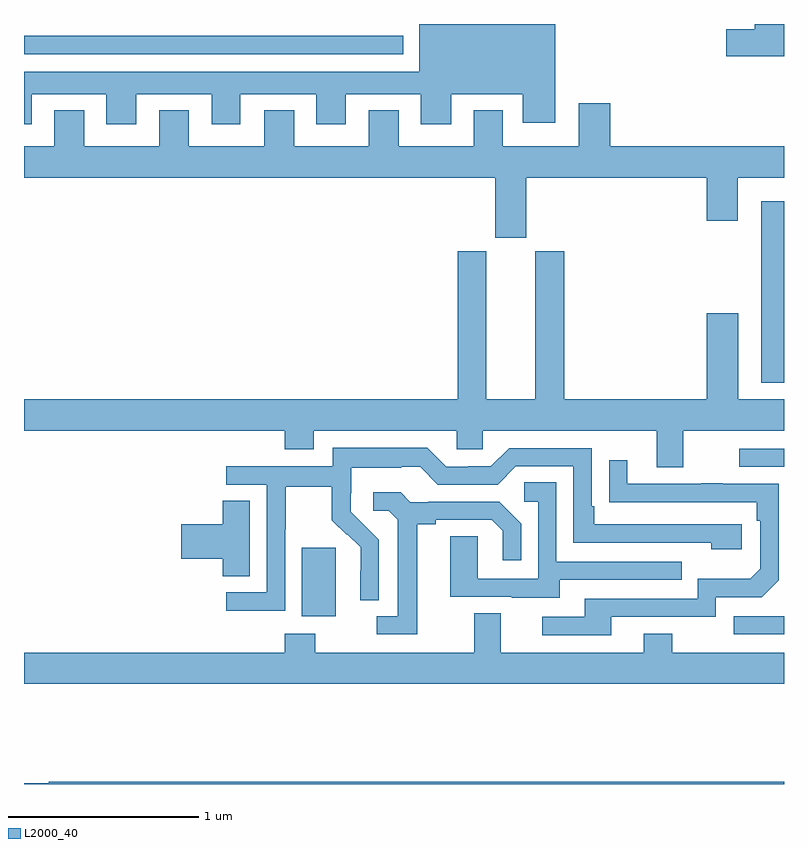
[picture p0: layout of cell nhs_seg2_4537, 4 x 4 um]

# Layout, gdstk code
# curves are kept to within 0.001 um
import gdstk
lib = gdstk.Library(unit=1e-6, precision=1e-09)
def R(c, l, rs):  # rectangles x0, y0, x1, y1
    for r in rs: c.add(gdstk.rectangle(r[:2], r[2:], *l))
def P(c, l, *ps):  # polygons
    for p in ps: c.add(gdstk.Polygon(p, *l))
L2000_40 = (2000, 40)

nhs_seg2_4537 = lib.new_cell('nhs_seg2_4537')
R(nhs_seg2_4537, L2000_40, [(360.735,622.587,361,622.683), (358.463,622.682,358.642,623.043), (360.765,623.469,361,623.565), (360.881,623.913,361,624.868), (357,625.641,358.996,625.738)])
P(nhs_seg2_4537, L2000_40, [(361,625.8),(360.845,625.8),(360.845,625.772),(360.696,625.772),(360.696,625.63),(361,625.63)],
  [(357.04,625.43),(357.434,625.43),(357.434,625.272),(357.592,625.272),(357.592,625.43),(357.989,625.43),(357.989,625.272),(358.138,625.272),(358.138,625.43),(358.538,625.43),(358.538,625.272),(358.693,625.272),(358.693,625.43),(359.087,625.43),(359.087,625.272),(359.248,625.272),(359.248,625.43),(359.624,625.43),(359.624,625.28),(359.797,625.28),(359.797,625.8),(359.081,625.8),(359.081,625.549),(357,625.549),(357,625.272),(357.04,625.272)],
  [(359.644,624.992),(360.593,624.992),(360.593,624.765),(360.757,624.765),(360.757,624.992),(361,624.992),(361,625.156),(360.086,625.156),(360.086,625.384),(359.921,625.384),(359.921,625.156),(359.521,625.156),(359.521,625.345),(359.366,625.345),(359.366,625.156),(358.972,625.156),(358.972,625.345),(358.814,625.345),(358.814,625.156),(358.423,625.156),(358.423,625.345),(358.265,625.345),(358.265,625.156),(357.868,625.156),(357.868,625.345),(357.713,625.345),(357.713,625.156),(357.316,625.156),(357.316,625.345),(357.158,625.345),(357.158,625.156),(357,625.156),(357,624.992),(359.48,624.992),(359.48,624.675),(359.644,624.675)],
  [(360.469,623.66),(361,623.66),(361,623.824),(360.76,623.824),(360.76,624.277),(360.593,624.277),(360.593,623.824),(359.843,623.824),(359.843,624.603),(359.69,624.603),(359.69,623.824),(359.434,623.824),(359.434,624.603),(359.282,624.603),(359.282,623.824),(357,623.824),(357,623.66),(358.373,623.66),(358.373,623.561),(358.525,623.561),(358.525,623.66),(359.277,623.66),(359.277,623.562),(359.415,623.562),(359.415,623.66),(360.329,623.66),(360.329,623.466),(360.469,623.466)],
  [(358.374,623.14),(358.377,623.14),(358.377,623.364),(358.621,623.364),(358.621,623.189),(358.698,623.112),(358.701,623.115),(358.772,623.045),(358.772,622.922),(358.77,622.922),(358.77,622.768),(358.866,622.768),(358.866,623.086),(358.72,623.234),(358.72,623.331),(358.722,623.331),(358.722,623.465),(358.985,623.465),(358.985,623.469),(359.085,623.469),(359.178,623.376),(359.493,623.376),(359.589,623.472),(359.892,623.472),(359.892,623.07),(360.617,623.07),(360.617,623.036),(360.778,623.036),(360.778,623.166),(360.001,623.166),(360.001,623.263),(359.988,623.263),(359.988,623.568),(359.553,623.568),(359.457,623.472),(359.339,623.472),(359.339,623.469),(359.223,623.469),(359.123,623.569),(358.626,623.569),(358.626,623.472),(358.065,623.472),(358.065,623.376),(358.278,623.376),(358.278,622.809),(358.065,622.809),(358.065,622.711),(358.374,622.711)],
  [(360.091,622.68),(360.642,622.68),(360.642,622.782),(360.882,622.782),(360.972,622.872),(360.972,623.379),(360.677,623.379),(360.677,623.384),(360.565,623.384),(360.565,623.379),(360.175,623.379),(360.175,623.503),(360.079,623.503),(360.079,623.284),(360.856,623.283),(360.856,623.186),(360.876,623.186),(360.876,622.932),(360.823,622.879),(360.546,622.879),(360.546,622.776),(359.951,622.776),(359.951,622.68),(359.727,622.68),(359.727,622.584),(360.091,622.584)],
  [(359.821,622.875),(360.461,622.875),(360.461,622.971),(359.802,622.971),(359.802,623.387),(359.634,623.387),(359.634,623.286),(359.706,623.286),(359.706,622.881),(359.388,622.881),(359.388,623.105),(359.243,623.105),(359.243,622.785),(359.567,622.785),(359.567,622.781),(359.821,622.781)],
  [(359.071,623.168),(359.167,623.168),(359.167,623.19),(359.462,623.19),(359.519,623.133),(359.519,622.977),(359.616,622.977),(359.616,623.17),(359.5,623.286),(359.128,623.286),(359.128,623.283),(359.034,623.283),(358.982,623.335),(358.839,623.335),(358.839,623.238),(358.92,623.238),(358.967,623.191),(358.967,622.683),(358.857,622.683),(358.857,622.587),(359.071,622.587)],
  [(358.189,623.291),(358.046,623.291),(358.046,623.168),(357.828,623.168),(357.828,622.985),(358.046,622.985),(358.046,622.894),(358.189,622.894)],
  [(361,622.492),(360.411,622.492),(360.411,622.591),(360.263,622.591),(360.263,622.492),(359.509,622.492),(359.509,622.7),(359.369,622.7),(359.369,622.492),(358.533,622.492),(358.533,622.591),(358.373,622.591),(358.373,622.492),(357,622.492),(357,622.328),(361,622.328)],
  [(361,621.812),(357.131,621.812),(357.131,621.805),(357,621.805),(357,621.8),(361,621.8)])

lib.write_gds('nhs_seg2_4537.gds')
